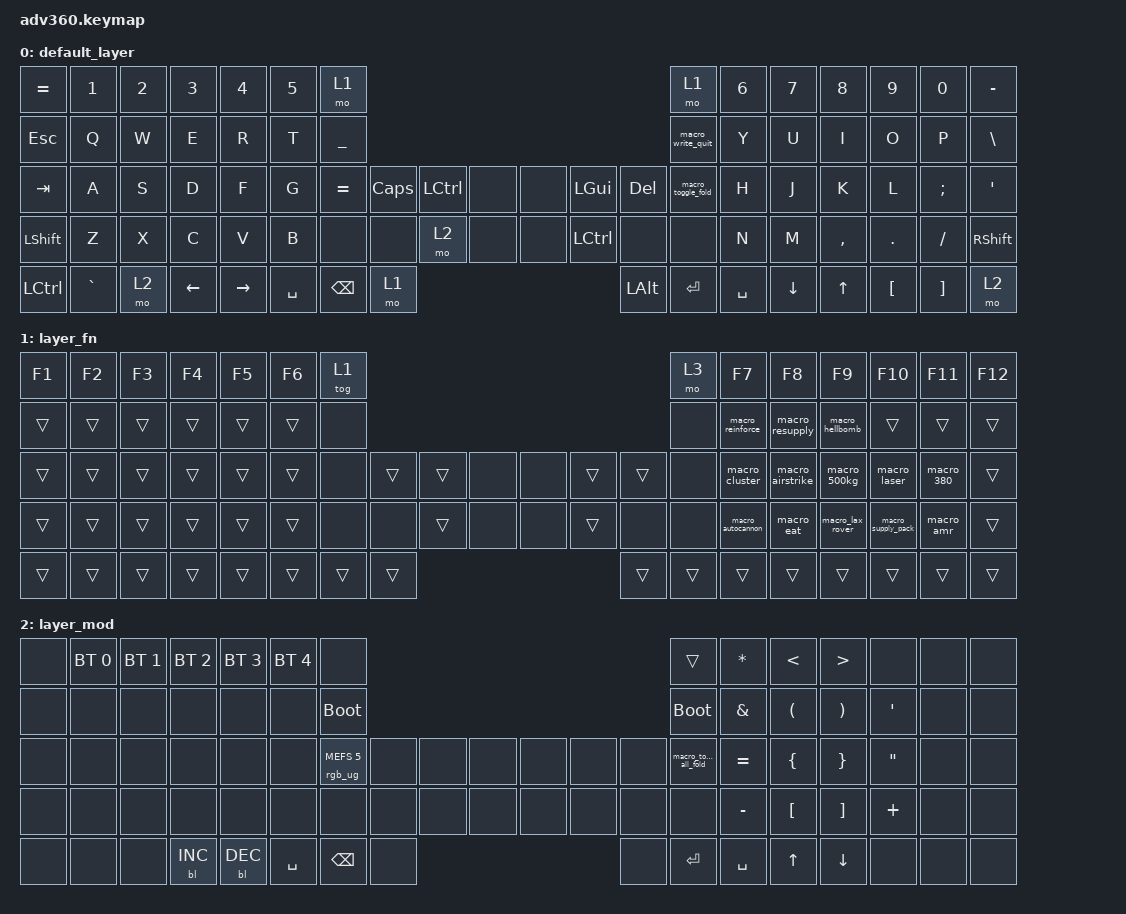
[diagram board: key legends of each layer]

/*
 * Copyright (c) 2020 The ZMK Contributors
 *
 * SPDX-License-Identifier: MIT
 */


/* THIS FILE WAS GENERATED!
 *
 * This file was generated automatically. You may or may not want to
 * edit it directly.
 */

#include <behaviors.dtsi>
#include <dt-bindings/zmk/keys.h>
#include <dt-bindings/zmk/bt.h>
#include <dt-bindings/zmk/rgb.h>
#include <dt-bindings/zmk/backlight.h>

/ {
  behaviors {
    #include "macros.dtsi"
    #include "version.dtsi"

    hm: homerow_mods {
        compatible = "zmk,behavior-hold-tap";
        label = "HOMEROW_MODS";
        #binding-cells = <2>;
        tapping-term-ms = <200>;
        quick_tap_ms = <175>;
        flavor = "tap-preferred";
        bindings = <&kp>, <&kp>;
    };
  };

    keymap {
        compatible = "zmk,keymap";


        default_layer {
            bindings = <
 &kp EQUAL     &kp N1  &kp N2    &kp N3     &kp N4  &kp N5                &mo 1                                                                                &mo 1  &kp N6    &kp N7     &kp N8    &kp N9    &kp N0  &kp MINUS
   &kp ESC      &kp Q   &kp W     &kp E      &kp R   &kp T            &kp UNDER                                                                    &macro_write_quit   &kp Y     &kp U      &kp I     &kp O     &kp P   &kp BSLH
   &kp TAB      &kp A   &kp S     &kp D      &kp F   &kp G            &kp EQUAL       &kp CAPS  &kp LCTRL   &none   &none   &kp LGUI  &kp DELETE  &macro_toggle_fold   &kp H     &kp J      &kp K     &kp L  &kp SEMI    &kp SQT
 &kp LSHFT      &kp Z   &kp X     &kp C      &kp V   &kp B                &none          &none      &mo 2   &none   &none  &kp LCTRL       &none               &none   &kp N     &kp M  &kp COMMA   &kp DOT  &kp FSLH  &kp RSHFT
 &kp LCTRL  &kp GRAVE   &mo 2  &kp LEFT  &kp RIGHT                    &kp SPACE  &kp BACKSPACE      &mo 1                   &kp LALT   &kp ENTER           &kp SPACE          &kp DOWN     &kp UP  &kp LBKT  &kp RBKT      &mo 2
            >;
        };

        layer_fn {
            bindings = <
 &kp F1  &kp F2  &kp F3  &kp F4  &kp F5  &kp F6            &tog 1                                                   &mo 3             &kp F7            &kp F8            &kp F9             &kp F10     &kp F11  &kp F12
 &trans  &trans  &trans  &trans  &trans  &trans             &none                                                   &none   &macro_reinforce   &macro_resupply   &macro_hellbomb              &trans      &trans   &trans
 &trans  &trans  &trans  &trans  &trans  &trans             &none  &trans  &trans   &none   &none  &trans  &trans   &none     &macro_cluster  &macro_airstrike      &macro_500kg        &macro_laser  &macro_380   &trans
 &trans  &trans  &trans  &trans  &trans  &trans             &none   &none  &trans   &none   &none  &trans   &none   &none  &macro_autocannon        &macro_eat  &macro_lax_rover  &macro_supply_pack  &macro_amr   &trans
 &trans  &trans  &trans  &trans  &trans                    &trans  &trans  &trans                  &trans  &trans  &trans                               &trans            &trans              &trans      &trans   &trans
            >;
        };

        layer_mod {
            bindings = <
  &none  &bt BT_SEL 0  &bt BT_SEL 1  &bt BT_SEL 2  &bt BT_SEL 3  &bt BT_SEL 4                             &none                                                                            &trans      &kp ASTRK         &kp LESS_THAN       &kp GREATER_THAN              &none   &none   &none
  &none         &none         &none         &none         &none         &none                       &bootloader                                                                       &bootloader  &kp AMPERSAND  &kp LEFT_PARENTHESIS  &kp RIGHT_PARENTHESIS   &kp SINGLE_QUOTE   &none   &none
  &none         &none         &none         &none         &none         &none            &rgb_ug RGB_MEFS_CMD 5          &none   &none   &none   &none   &none      &none  &macro_toggle_all_fold      &kp EQUAL        &kp LEFT_BRACE        &kp RIGHT_BRACE  &kp DOUBLE_QUOTES   &none   &none
  &none         &none         &none         &none         &none         &none                             &none          &none   &none   &none   &none   &none      &none                   &none      &kp MINUS      &kp LEFT_BRACKET      &kp RIGHT_BRACKET           &kp PLUS   &none   &none
  &none         &none         &none    &bl BL_INC    &bl BL_DEC                                       &kp SPACE  &kp BACKSPACE   &none                   &none  &kp ENTER               &kp SPACE                               &kp UP               &kp DOWN              &none   &none   &none
            >;
        };

    };
};
